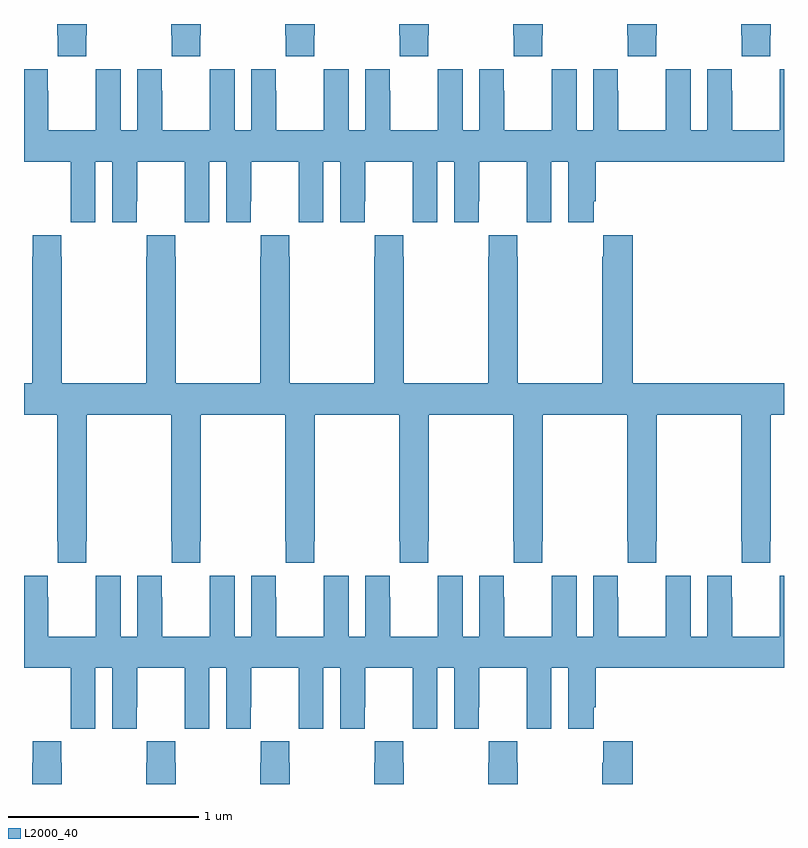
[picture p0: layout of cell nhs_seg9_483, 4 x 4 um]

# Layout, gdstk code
import gdstk
lib = gdstk.Library(unit=1e-6, precision=1e-09)
def P(c, l, *ps):  # polygons
    for p in ps: c.add(gdstk.Polygon(p, *l))
L2000_40 = (2000, 40)

nhs_seg9_483 = lib.new_cell('nhs_seg9_483')
P(nhs_seg9_483, L2000_40, [(135.927,1174.441),(135.93,1174.441),(135.93,1174.5),(135.775,1174.5),(135.775,1174.441),(135.777,1174.441),(135.777,1174.329),(135.927,1174.329)],
  [(136.527,1174.441),(136.53,1174.441),(136.53,1174.5),(136.375,1174.5),(136.375,1174.441),(136.377,1174.441),(136.377,1174.329),(136.527,1174.329)],
  [(137.127,1174.441),(137.13,1174.441),(137.13,1174.5),(136.975,1174.5),(136.975,1174.441),(136.977,1174.441),(136.977,1174.329),(137.127,1174.329)],
  [(137.727,1174.441),(137.73,1174.441),(137.73,1174.5),(137.575,1174.5),(137.575,1174.441),(137.577,1174.441),(137.577,1174.329),(137.727,1174.329)],
  [(138.327,1174.441),(138.33,1174.441),(138.33,1174.5),(138.175,1174.5),(138.175,1174.441),(138.177,1174.441),(138.177,1174.329),(138.327,1174.329)],
  [(138.927,1174.441),(138.93,1174.441),(138.93,1174.5),(138.775,1174.5),(138.775,1174.441),(138.777,1174.441),(138.777,1174.329),(138.927,1174.329)],
  [(135.327,1174.441),(135.33,1174.441),(135.33,1174.5),(135.175,1174.5),(135.175,1174.441),(135.177,1174.441),(135.177,1174.329),(135.327,1174.329)],
  [(135.376,1173.776),(135.464,1173.776),(135.464,1173.456),(135.594,1173.456),(135.594,1173.568),(135.595,1173.568),(135.595,1173.776),(135.845,1173.776),(135.845,1173.568),(135.846,1173.568),(135.846,1173.456),(135.976,1173.456),(135.976,1173.776),(136.064,1173.776),(136.064,1173.456),(136.194,1173.456),(136.194,1173.568),(136.195,1173.568),(136.195,1173.776),(136.445,1173.776),(136.445,1173.568),(136.446,1173.568),(136.446,1173.456),(136.576,1173.456),(136.576,1173.776),(136.664,1173.776),(136.664,1173.456),(136.794,1173.456),(136.794,1173.568),(136.795,1173.568),(136.795,1173.776),(137.045,1173.776),(137.045,1173.568),(137.046,1173.568),(137.046,1173.456),(137.176,1173.456),(137.176,1173.776),(137.264,1173.776),(137.264,1173.456),(137.394,1173.456),(137.394,1173.568),(137.395,1173.568),(137.395,1173.776),(137.645,1173.776),(137.645,1173.568),(137.646,1173.568),(137.646,1173.456),(137.776,1173.456),(137.776,1173.776),(137.864,1173.776),(137.864,1173.456),(137.998,1173.456),(137.998,1173.568),(138.008,1173.568),(138.008,1173.776),(139,1173.776),(139,1174.261),(138.978,1174.261),(138.978,1174.148),(138.977,1174.148),(138.977,1173.94),(138.727,1173.94),(138.727,1174.148),(138.726,1174.148),(138.726,1174.261),(138.596,1174.261),(138.596,1173.94),(138.508,1173.94),(138.508,1174.261),(138.378,1174.261),(138.378,1174.148),(138.377,1174.148),(138.377,1173.94),(138.127,1173.94),(138.127,1174.148),(138.126,1174.148),(138.126,1174.261),(137.996,1174.261),(137.996,1173.94),(137.908,1173.94),(137.908,1174.261),(137.778,1174.261),(137.778,1174.148),(137.777,1174.148),(137.777,1173.94),(137.527,1173.94),(137.527,1174.148),(137.526,1174.148),(137.526,1174.261),(137.396,1174.261),(137.396,1173.94),(137.308,1173.94),(137.308,1174.261),(137.178,1174.261),(137.178,1174.148),(137.177,1174.148),(137.177,1173.94),(136.927,1173.94),(136.927,1174.148),(136.926,1174.148),(136.926,1174.261),(136.796,1174.261),(136.796,1173.94),(136.708,1173.94),(136.708,1174.261),(136.578,1174.261),(136.578,1174.148),(136.577,1174.148),(136.577,1173.94),(136.327,1173.94),(136.327,1174.148),(136.326,1174.148),(136.326,1174.261),(136.196,1174.261),(136.196,1173.94),(136.108,1173.94),(136.108,1174.261),(135.978,1174.261),(135.978,1174.148),(135.977,1174.148),(135.977,1173.94),(135.727,1173.94),(135.727,1174.148),(135.726,1174.148),(135.726,1174.261),(135.596,1174.261),(135.596,1173.94),(135.508,1173.94),(135.508,1174.261),(135.378,1174.261),(135.378,1174.148),(135.377,1174.148),(135.377,1173.94),(135.127,1173.94),(135.127,1174.148),(135.126,1174.148),(135.126,1174.261),(135,1174.261),(135,1173.776),(135.245,1173.776),(135.245,1173.568),(135.246,1173.568),(135.246,1173.456),(135.376,1173.456)],
  [(135.045,1173.388),(135.045,1173.275),(135.043,1173.275),(135.043,1172.608),(135,1172.608),(135,1172.444),(135.175,1172.444),(135.175,1171.777),(135.177,1171.777),(135.177,1171.665),(135.327,1171.665),(135.327,1171.777),(135.33,1171.777),(135.33,1172.444),(135.775,1172.444),(135.775,1171.777),(135.777,1171.777),(135.777,1171.665),(135.927,1171.665),(135.927,1171.777),(135.93,1171.777),(135.93,1172.444),(136.375,1172.444),(136.375,1171.777),(136.377,1171.777),(136.377,1171.665),(136.527,1171.665),(136.527,1171.777),(136.53,1171.777),(136.53,1172.444),(136.975,1172.444),(136.975,1171.777),(136.977,1171.777),(136.977,1171.665),(137.127,1171.665),(137.127,1171.777),(137.13,1171.777),(137.13,1172.444),(137.575,1172.444),(137.575,1171.777),(137.577,1171.777),(137.577,1171.665),(137.727,1171.665),(137.727,1171.777),(137.73,1171.777),(137.73,1172.444),(138.175,1172.444),(138.175,1171.777),(138.177,1171.777),(138.177,1171.665),(138.327,1171.665),(138.327,1171.777),(138.33,1171.777),(138.33,1172.444),(138.775,1172.444),(138.775,1171.777),(138.777,1171.777),(138.777,1171.665),(138.927,1171.665),(138.927,1171.777),(138.93,1171.777),(138.93,1172.444),(139,1172.444),(139,1172.608),(138.203,1172.608),(138.203,1173.388),(138.049,1173.388),(138.049,1173.275),(138.043,1173.275),(138.043,1172.608),(137.598,1172.608),(137.598,1173.275),(137.595,1173.275),(137.595,1173.388),(137.445,1173.388),(137.445,1173.275),(137.443,1173.275),(137.443,1172.608),(136.998,1172.608),(136.998,1173.275),(136.995,1173.275),(136.995,1173.388),(136.845,1173.388),(136.845,1173.275),(136.843,1173.275),(136.843,1172.608),(136.398,1172.608),(136.398,1173.275),(136.395,1173.275),(136.395,1173.388),(136.245,1173.388),(136.245,1173.275),(136.243,1173.275),(136.243,1172.608),(135.798,1172.608),(135.798,1173.275),(135.795,1173.275),(135.795,1173.388),(135.645,1173.388),(135.645,1173.275),(135.643,1173.275),(135.643,1172.608),(135.198,1172.608),(135.198,1173.275),(135.195,1173.275),(135.195,1173.388)],
  [(135.376,1171.112),(135.464,1171.112),(135.464,1170.792),(135.594,1170.792),(135.594,1170.904),(135.595,1170.904),(135.595,1171.112),(135.845,1171.112),(135.845,1170.904),(135.846,1170.904),(135.846,1170.792),(135.976,1170.792),(135.976,1171.112),(136.064,1171.112),(136.064,1170.792),(136.194,1170.792),(136.194,1170.904),(136.195,1170.904),(136.195,1171.112),(136.445,1171.112),(136.445,1170.904),(136.446,1170.904),(136.446,1170.792),(136.576,1170.792),(136.576,1171.112),(136.664,1171.112),(136.664,1170.792),(136.794,1170.792),(136.794,1170.904),(136.795,1170.904),(136.795,1171.112),(137.045,1171.112),(137.045,1170.904),(137.046,1170.904),(137.046,1170.792),(137.176,1170.792),(137.176,1171.112),(137.264,1171.112),(137.264,1170.792),(137.394,1170.792),(137.394,1170.904),(137.395,1170.904),(137.395,1171.112),(137.645,1171.112),(137.645,1170.904),(137.646,1170.904),(137.646,1170.792),(137.776,1170.792),(137.776,1171.112),(137.864,1171.112),(137.864,1170.792),(137.998,1170.792),(137.998,1170.904),(138.008,1170.904),(138.008,1171.112),(139,1171.112),(139,1171.597),(138.978,1171.597),(138.978,1171.484),(138.977,1171.484),(138.977,1171.276),(138.727,1171.276),(138.727,1171.484),(138.726,1171.484),(138.726,1171.597),(138.596,1171.597),(138.596,1171.276),(138.508,1171.276),(138.508,1171.597),(138.378,1171.597),(138.378,1171.484),(138.377,1171.484),(138.377,1171.276),(138.127,1171.276),(138.127,1171.484),(138.126,1171.484),(138.126,1171.597),(137.996,1171.597),(137.996,1171.276),(137.908,1171.276),(137.908,1171.597),(137.778,1171.597),(137.778,1171.484),(137.777,1171.484),(137.777,1171.276),(137.527,1171.276),(137.527,1171.484),(137.526,1171.484),(137.526,1171.597),(137.396,1171.597),(137.396,1171.276),(137.308,1171.276),(137.308,1171.597),(137.178,1171.597),(137.178,1171.484),(137.177,1171.484),(137.177,1171.276),(136.927,1171.276),(136.927,1171.484),(136.926,1171.484),(136.926,1171.597),(136.796,1171.597),(136.796,1171.276),(136.708,1171.276),(136.708,1171.597),(136.578,1171.597),(136.578,1171.484),(136.577,1171.484),(136.577,1171.276),(136.327,1171.276),(136.327,1171.484),(136.326,1171.484),(136.326,1171.597),(136.196,1171.597),(136.196,1171.276),(136.108,1171.276),(136.108,1171.597),(135.978,1171.597),(135.978,1171.484),(135.977,1171.484),(135.977,1171.276),(135.727,1171.276),(135.727,1171.484),(135.726,1171.484),(135.726,1171.597),(135.596,1171.597),(135.596,1171.276),(135.508,1171.276),(135.508,1171.597),(135.378,1171.597),(135.378,1171.484),(135.377,1171.484),(135.377,1171.276),(135.127,1171.276),(135.127,1171.484),(135.126,1171.484),(135.126,1171.597),(135,1171.597),(135,1171.112),(135.245,1171.112),(135.245,1170.904),(135.246,1170.904),(135.246,1170.792),(135.376,1170.792)],
  [(136.398,1170.611),(136.395,1170.611),(136.395,1170.724),(136.245,1170.724),(136.245,1170.611),(136.243,1170.611),(136.243,1170.5),(136.398,1170.5)],
  [(137.598,1170.611),(137.595,1170.611),(137.595,1170.724),(137.445,1170.724),(137.445,1170.611),(137.443,1170.611),(137.443,1170.5),(137.598,1170.5)],
  [(138.203,1170.724),(138.049,1170.724),(138.049,1170.611),(138.043,1170.611),(138.043,1170.5),(138.203,1170.5)],
  [(136.998,1170.611),(136.995,1170.611),(136.995,1170.724),(136.845,1170.724),(136.845,1170.611),(136.843,1170.611),(136.843,1170.5),(136.998,1170.5)],
  [(135.798,1170.611),(135.795,1170.611),(135.795,1170.724),(135.645,1170.724),(135.645,1170.611),(135.643,1170.611),(135.643,1170.5),(135.798,1170.5)],
  [(135.198,1170.611),(135.195,1170.611),(135.195,1170.724),(135.045,1170.724),(135.045,1170.611),(135.043,1170.611),(135.043,1170.5),(135.198,1170.5)])

lib.write_gds('nhs_seg9_483.gds')
